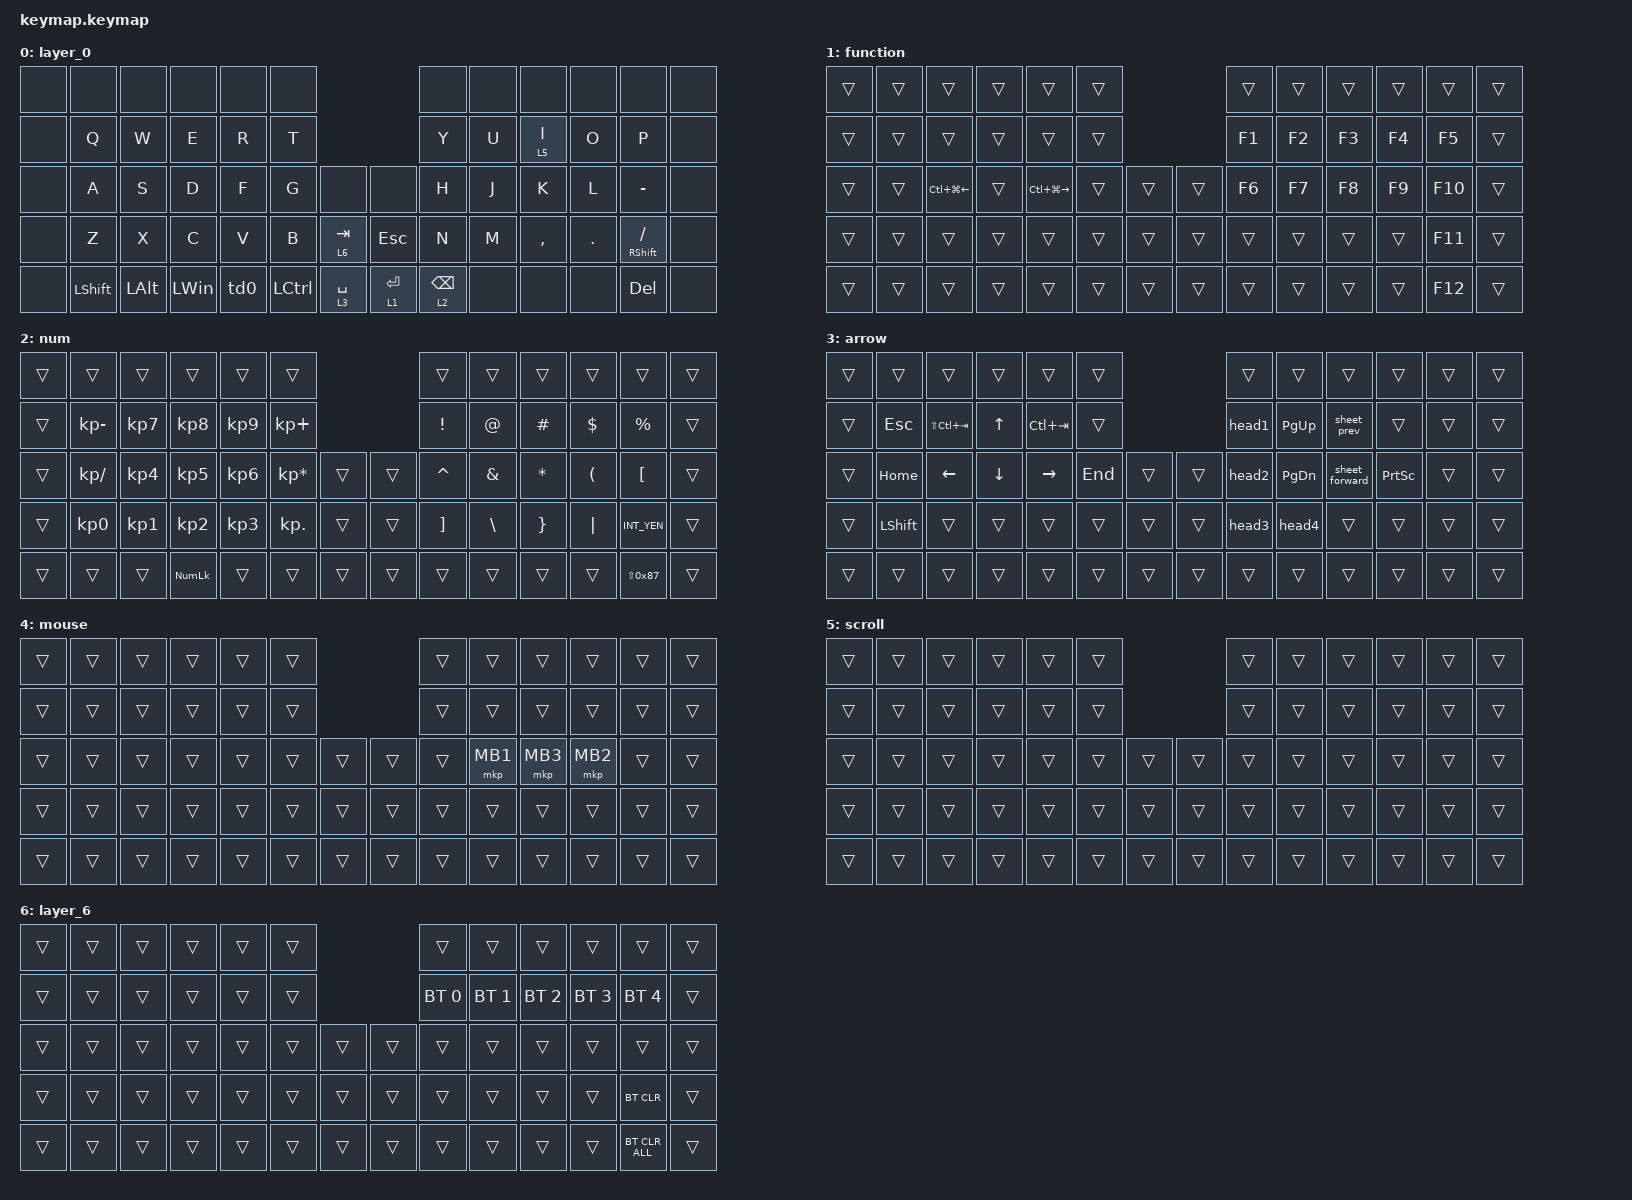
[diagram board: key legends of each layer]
#include <dt-bindings/zmk/input_transform.h>
#include <input/processors.dtsi>
#include <behaviors/input_gestures_accel.dtsi>
#include <behaviors.dtsi>
#include <dt-bindings/zmk/bt.h>
#include <dt-bindings/zmk/keys.h>
#include <dt-bindings/zmk/pointing.h>
#include <zephyr/dt-bindings/input/input-event-codes.h>

&zip_temp_layer {
    excluded-positions = <33 34 35>;
    require-prior-idle-ms = <200>;
};

&pointer_accel {
    input-type = <INPUT_EV_REL>;
    track-remainders;
    min-factor = <300>;
    max-factor = <800>;
    speed-plateau = <2200>;
    speed-threshold = <3400>;
    speed-max = <1000>;
    acceleration-exponent = <1>;
};

&pointing_listener {
    input-processors =
        <&pointer_accel>,
        <&zip_xy_scaler 2 3>,
        <&zip_xy_transform (INPUT_TRANSFORM_X_INVERT | INPUT_TRANSFORM_Y_INVERT)>,
        <&zip_temp_layer 4 1000>;

    scroller {
        layers = <5>;
        input-processors =
            <&zip_xy_to_scroll_mapper>,
            <&zip_scroll_scaler 1 3>,
            <&zip_scroll_transform INPUT_TRANSFORM_X_INVERT>;
    };
};

&mkp_input_listener { input-processors = <&zip_temp_layer 4 500>; };

&lt {
    quick-tap-ms = <250>;
};

/ {
    combos {
        compatible = "zmk,combos";

        tab {
            bindings = <&kp TAB>;
            key-positions = <26 27>;
        };

        shift_tab {
            bindings = <&kp LS(TAB)>;
            key-positions = <27 28>;
        };

        muhenkan {
            bindings = <&kp INTERNATIONAL_5>;
            key-positions = <25 26>;
            timeout-ms = <20>;
        };

        eq {
            bindings = <&kp UNDER>;
            key-positions = <42 41>;
        };

        henkan {
            bindings = <&kp INTERNATIONAL_4>;
            key-positions = <35 36>;
        };

        colon {
            bindings = <&kp SINGLE_QUOTE>;
            key-positions = <34 33>;
        };

        semicolon {
            bindings = <&kp SEMI>;
            key-positions = <34 35>;
        };

        esc {
            bindings = <&kp ESCAPE>;
            key-positions = <13 14>;
        };

        left-click {
            bindings = <&mkp LCLK>;
            key-positions = <47 48>;
        };

        right-click {
            bindings = <&mkp RCLK>;
            key-positions = <48 49>;
        };
    };

    behaviors {
        td0: td0 {
            compatible = "zmk,behavior-tap-dance";
            label = "TD0";
            #binding-cells = <0>;
            bindings = <&kp INTERNATIONAL_5>, <&kp INTERNATIONAL_4>, <&mo 2>;
        };
    };

    macros {
        sheet_prev: sheet_prev {
            compatible = "zmk,behavior-macro";
            #binding-cells = <0>;
            bindings =
                <&macro_press>,
                <&kp LALT>,
                <&macro_tap>,
                <&kp UP_ARROW>,
                <&macro_pause_for_release>,
                <&macro_release>,
                <&kp LALT>;

            label = "SHEET_PREV";
        };

        sheet_forward: sheet_forward {
            compatible = "zmk,behavior-macro";
            #binding-cells = <0>;
            bindings =
                <&macro_press>,
                <&kp LALT>,
                <&macro_tap>,
                <&kp DOWN_ARROW>,
                <&macro_pause_for_release>,
                <&macro_release>,
                <&kp LALT>;

            label = "SHEET_FORWARD";
        };

        head1: head1 {
            compatible = "zmk,behavior-macro";
            #binding-cells = <0>;
            bindings =
                <&macro_press>,
                <&kp LCTRL &kp LALT>,
                <&macro_tap>,
                <&kp NUMBER_1>,
                <&macro_pause_for_release>,
                <&macro_release>,
                <&kp LCTRL &kp LEFT_ALT>;

            label = "HEAD1";
        };

        head2: head2 {
            compatible = "zmk,behavior-macro";
            #binding-cells = <0>;
            bindings =
                <&macro_press>,
                <&kp LCTRL &kp LALT>,
                <&macro_tap>,
                <&kp NUMBER_2>,
                <&macro_pause_for_release>,
                <&macro_release>,
                <&kp LCTRL &kp LEFT_ALT>;

            label = "HEAD2";
        };

        head3: head3 {
            compatible = "zmk,behavior-macro";
            #binding-cells = <0>;
            bindings =
                <&macro_press>,
                <&kp LCTRL &kp LALT>,
                <&macro_tap>,
                <&kp NUMBER_3>,
                <&macro_pause_for_release>,
                <&macro_release>,
                <&kp LCTRL &kp LEFT_ALT>;

            label = "HEAD3";
        };

        head4: head4 {
            compatible = "zmk,behavior-macro";
            #binding-cells = <0>;
            bindings =
                <&macro_press>,
                <&kp LCTRL &kp LALT>,
                <&macro_tap>,
                <&kp NUMBER_4>,
                <&macro_pause_for_release>,
                <&macro_release>,
                <&kp LCTRL &kp LEFT_ALT>;

            label = "HEAD4";
        };
    };

    keymap {
        compatible = "zmk,keymap";

        layer_0 {
            bindings = <
&none  &none       &none         &none         &none  &none                                &none            &none  &none      &none    &none            &none
&none  &kp Q       &kp W         &kp E         &kp R  &kp T                                &kp Y            &kp U  &lt 5 I    &kp O    &kp P            &none
&none  &kp A       &kp S         &kp D         &kp F  &kp G      &none        &none        &kp H            &kp J  &kp K      &kp L    &kp MINUS        &none
&none  &kp Z       &kp X         &kp C         &kp V  &kp B      &lt 6 TAB    &kp ESCAPE   &kp N            &kp M  &kp COMMA  &kp DOT  &mt RSHFT SLASH  &none
&none  &kp LSHIFT  &kp LEFT_ALT  &kp LEFT_WIN  &td0   &kp LCTRL  &lt 3 SPACE  &lt 1 ENTER  &lt 2 BACKSPACE  &none  &none      &none    &kp DELETE       &none
            >;
        };

        function {
            bindings = <
&trans  &trans  &trans  &trans  &trans  &trans                  &trans  &trans  &trans  &trans  &trans   &trans
&trans  &trans  &trans  &trans  &trans  &trans                  &kp F1  &kp F2  &kp F3  &kp F4  &kp F5   &trans
&trans  &trans  &kp LC(LG(LEFT))  &trans  &kp LC(LG(RIGHT))  &trans  &trans  &trans  &kp F6  &kp F7  &kp F8  &kp F9  &kp F10  &trans
&trans  &trans  &trans  &trans  &trans  &trans  &trans  &trans  &trans  &trans  &trans  &trans  &kp F11  &trans
&trans  &trans  &trans  &trans  &trans  &trans  &trans  &trans  &trans  &trans  &trans  &trans  &kp F12  &trans
            >;
        };

        num {
            bindings = <
&trans  &trans         &trans           &trans           &trans           &trans                           &trans             &trans         &trans           &trans                &trans            &trans
&trans  &kp KP_MINUS   &kp KP_NUMBER_7  &kp KP_NUMBER_8  &kp KP_NUMBER_9  &kp KP_PLUS                      &kp EXCL           &kp AT_SIGN    &kp HASH         &kp DOLLAR            &kp PERCENT       &trans
&trans  &kp KP_DIVIDE  &kp KP_NUMBER_4  &kp KP_NUMBER_5  &kp KP_NUMBER_6  &kp KP_ASTERISK  &trans  &trans  &kp CARET          &kp AMPS       &kp ASTRK        &kp LEFT_PARENTHESIS  &kp LEFT_BRACKET  &trans
&trans  &kp KP_N0      &kp KP_N1        &kp KP_NUMBER_2  &kp KP_NUMBER_3  &kp KP_DOT       &trans  &trans  &kp RIGHT_BRACKET  &kp BACKSLASH  &kp RIGHT_BRACE  &kp PIPE              &kp INT_YEN       &trans
&trans  &trans         &trans           &kp KP_NUM       &trans           &trans           &trans  &trans  &trans             &trans         &trans           &trans                &kp LS(0x87)      &trans
            >;
        };

        arrow {
            bindings = <
&trans  &trans     &trans           &trans    &trans       &trans                   &trans  &trans     &trans          &trans           &trans  &trans
&trans  &kp ESC    &kp LS(LC(TAB))  &kp UP    &kp LC(TAB)  &trans                   &head1  &kp PG_UP  &sheet_prev     &trans           &trans  &trans
&trans  &kp HOME   &kp LEFT         &kp DOWN  &kp RIGHT    &kp END  &trans  &trans  &head2  &kp PG_DN  &sheet_forward  &kp PRINTSCREEN  &trans  &trans
&trans  &kp LSHFT  &trans           &trans    &trans       &trans   &trans  &trans  &head3  &head4     &trans          &trans           &trans  &trans
&trans  &trans     &trans           &trans    &trans       &trans   &trans  &trans  &trans  &trans     &trans          &trans           &trans  &trans
            >;
        };

        mouse {
            bindings = <
&trans  &trans  &trans  &trans  &trans  &trans                  &trans  &trans    &trans    &trans    &trans  &trans
&trans  &trans  &trans  &trans  &trans  &trans                  &trans  &trans    &trans    &trans    &trans  &trans
&trans  &trans  &trans  &trans  &trans  &trans  &trans  &trans  &trans  &mkp MB1  &mkp MB3  &mkp MB2  &trans  &trans
&trans  &trans  &trans  &trans  &trans  &trans  &trans  &trans  &trans  &trans    &trans    &trans    &trans  &trans
&trans  &trans  &trans  &trans  &trans  &trans  &trans  &trans  &trans  &trans    &trans    &trans    &trans  &trans
            >;
        };

        scroll {
            bindings = <
&trans  &trans  &trans  &trans  &trans  &trans                  &trans  &trans  &trans  &trans  &trans  &trans
&trans  &trans  &trans  &trans  &trans  &trans                  &trans  &trans  &trans  &trans  &trans  &trans
&trans  &trans  &trans  &trans  &trans  &trans  &trans  &trans  &trans  &trans  &trans  &trans  &trans  &trans
&trans  &trans  &trans  &trans  &trans  &trans  &trans  &trans  &trans  &trans  &trans  &trans  &trans  &trans
&trans  &trans  &trans  &trans  &trans  &trans  &trans  &trans  &trans  &trans  &trans  &trans  &trans  &trans
            >;
        };

        layer_6 {
            bindings = <
&trans  &trans  &trans  &trans  &trans  &trans                  &trans        &trans        &trans        &trans        &trans          &trans
&trans  &trans  &trans  &trans  &trans  &trans                  &bt BT_SEL 0  &bt BT_SEL 1  &bt BT_SEL 2  &bt BT_SEL 3  &bt BT_SEL 4    &trans
&trans  &trans  &trans  &trans  &trans  &trans  &trans  &trans  &trans        &trans        &trans        &trans        &trans          &trans
&trans  &trans  &trans  &trans  &trans  &trans  &trans  &trans  &trans        &trans        &trans        &trans        &bt BT_CLR      &trans
&trans  &trans  &trans  &trans  &trans  &trans  &trans  &trans  &trans        &trans        &trans        &trans        &bt BT_CLR_ALL  &trans
            >;
        };
    };
};
